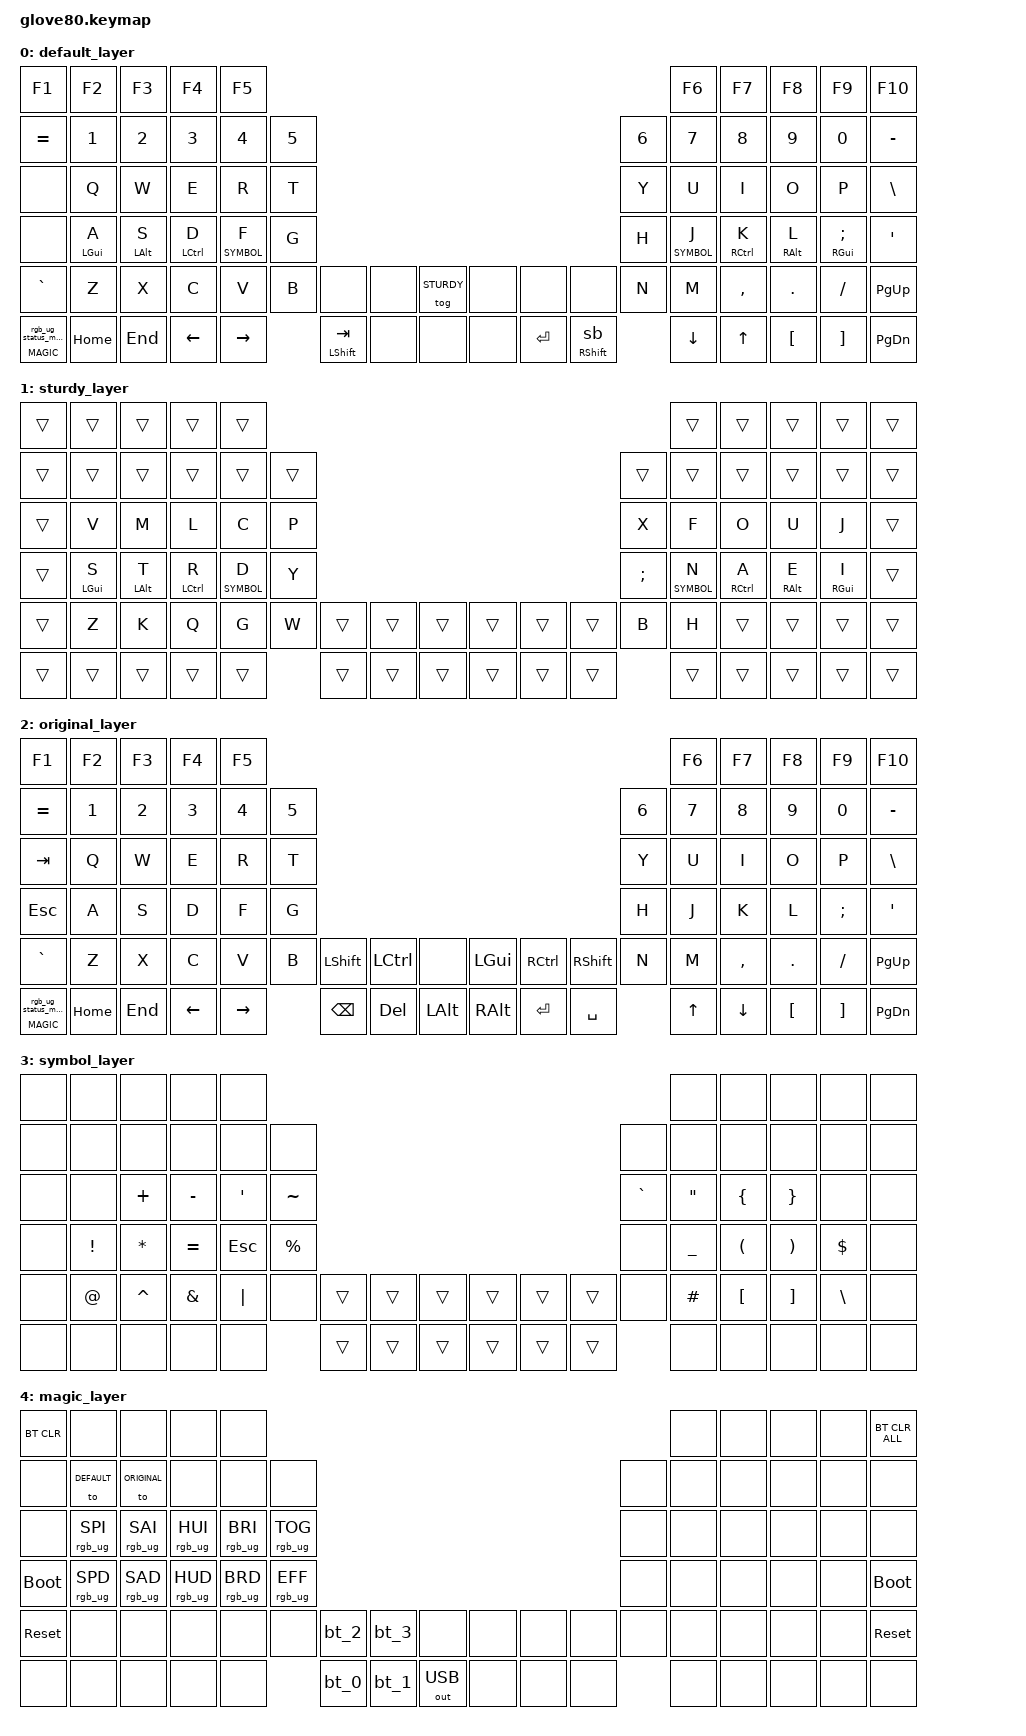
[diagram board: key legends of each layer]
/*
 * Copyright (c) 2020 The ZMK Contributors
 *
 * SPDX-License-Identifier: MIT
 */

#include <behaviors.dtsi>
#include <dt-bindings/zmk/keys.h>
#include <dt-bindings/zmk/bt.h>
#include <dt-bindings/zmk/ext_power.h>
#include <dt-bindings/zmk/outputs.h>
#include <dt-bindings/zmk/rgb.h>

#define HYPER LC(LS(LG(LALT)))

// layers
#define DEFAULT 0
#define STURDY 1
#define ORIGINAL 2
#define SYMBOL 3
#define MAGIC 4


// +------------------------+                                             +------------------------+
// | 00 | 01 | 02 | 03 | 04 +----+                                   +----+ 05 | 06 | 07 | 08 | 09 |
// | 10 | 11 | 12 | 13 | 14 | 15 |                                   | 16 | 17 | 18 | 19 | 20 | 21 |
// | 22 | 23 | 24 | 25 | 26 | 27 |                                   | 28 | 29 | 30 | 31 | 32 | 33 |
// | 34 | 35 | 36 | 37 | 38 | 39 +--------------+     +--------------+ 40 | 41 | 42 | 43 | 44 | 45 |
// | 46 | 47 | 48 | 49 | 50 | 51 | 52 | 53 | 54 |     | 55 | 56 | 57 | 58 | 59 | 60 | 61 | 62 | 63 |
// | 64 | 65 | 66 | 67 | 68 +----+ 69 | 70 | 71 |     | 72 | 73 | 74 +----+ 75 | 76 | 77 | 78 | 79 |
// +------------------------+    +--------------+     +--------------+    +------------------------+

#define LHS \
        0  1  2  3  4          \
    10 11 12 13 14 15          \
    22 23 24 25 26 27          \
    34 35 36 37 38 39          \
    46 47 48 49 50 51 52 53 54 \
    64 65 66 67 68    69 70 71

#define RHS \
                 5  6  7  8  9 \
             16 17 18 19 20 21 \
             28 29 30 31 32 33 \
             40 41 42 43 44 45 \
    55 56 57 58 59 60 61 62 63 \
    72 73 74    75 76 77 78 79

/ {
    behaviors {
        magic: magic_hold_tap {
            compatible = "zmk,behavior-hold-tap";
            label = "MAGIC_HOLD_TAP";
            #binding-cells = <2>;
            flavor = "tap-preferred";
            tapping-term-ms = <200>;
            bindings = <&mo>, <&rgb_ug_status_macro>;
        };

        sb: space_backspace {
            compatible = "zmk,behavior-mod-morph";
            #binding-cells = <0>;
            bindings = <&kp SPACE>, <&kp BSPC>;
            mods = <MOD_LSFT>;
        };
        stl: shift_tap_left {
            compatible = "zmk,behavior-hold-tap";
            #binding-cells = <2>;
            flavor = "hold-preferred";
            tapping-term-ms = <200>;
            quick-tap-ms = <175>;
            bindings = <&kp>, <&kp>;
            hold-trigger-key-positions = <RHS>;
        };
        str: shift_tap_right {
            compatible = "zmk,behavior-hold-tap";
            #binding-cells = <2>;
            flavor = "hold-preferred";
            tapping-term-ms = <200>;
            quick-tap-ms = <175>;
            bindings = <&kp>, <&sb>;
            hold-trigger-key-positions = <LHS>;
        };

        // https://v0-3-branch.zmk.dev/docs/keymaps/behaviors/hold-tap?examples=home_row_mods#custom-hold-tap-examples
        hml: home_row_mod_left {
            compatible = "zmk,behavior-hold-tap";
            #binding-cells = <2>;
            flavor = "balanced";
            require-prior-idle-ms = <150>;
            tapping-term-ms = <280>;
            quick-tap-ms = <175>;
            bindings = <&kp>, <&kp>;
            hold-trigger-key-positions = <RHS>;
            hold-trigger-on-release;
        };
        hmr: home_row_mod_right {
            compatible = "zmk,behavior-hold-tap";
            #binding-cells = <2>;
            flavor = "balanced";
            require-prior-idle-ms = <150>;
            tapping-term-ms = <280>;
            quick-tap-ms = <175>;
            bindings = <&kp>, <&kp>;
            hold-trigger-key-positions = <LHS>;
            hold-trigger-on-release;
        };

        hll: home_row_layer_left {
            compatible = "zmk,behavior-hold-tap";
            #binding-cells = <2>;
            flavor = "hold-preferred";
            tapping-term-ms = <280>;
            quick-tap-ms = <175>;
            bindings = <&mo>, <&kp>;
            hold-trigger-key-positions = <RHS>;
            hold-trigger-on-release;
        };
        hlr: home_row_layer_right {
            compatible = "zmk,behavior-hold-tap";
            #binding-cells = <2>;
            flavor = "hold-preferred";
            tapping-term-ms = <280>;
            quick-tap-ms = <175>;
            bindings = <&mo>, <&kp>;
            hold-trigger-key-positions = <LHS>;
            hold-trigger-on-release;
        };
    };

    macros {
        rgb_ug_status_macro: rgb_ug_status_macro_0 {
            label = "RGB_UG_STATUS";
            compatible = "zmk,behavior-macro";
            #binding-cells = <0>;
            bindings
                = <&rgb_ug RGB_STATUS>;
        };

        bt_0: bt_profile_macro_0 {
            label = "BT_0";
            compatible = "zmk,behavior-macro";
            #binding-cells = <0>;
            bindings
                = <&out OUT_BLE>,
                  <&bt BT_SEL 0>;
        };

        bt_1: bt_profile_macro_1 {
            label = "BT_1";
            compatible = "zmk,behavior-macro";
            #binding-cells = <0>;
            bindings
                = <&out OUT_BLE>,
                  <&bt BT_SEL 1>;
        };

        bt_2: bt_profile_macro_2 {
            label = "BT_2";
            compatible = "zmk,behavior-macro";
            #binding-cells = <0>;
            bindings
                = <&out OUT_BLE>,
                  <&bt BT_SEL 2>;
        };

        bt_3: bt_profile_macro_3 {
            label = "BT_3";
            compatible = "zmk,behavior-macro";
            #binding-cells = <0>;
            bindings
                = <&out OUT_BLE>,
                  <&bt BT_SEL 3>;
        };
    };

    keymap {
        compatible = "zmk,keymap";

        default_layer {
            bindings = <
            &kp F1         &kp F2      &kp F3      &kp F4       &kp F5                                                                                         &kp F6        &kp F7       &kp F8       &kp F9         &kp F10
            &kp EQUAL      &kp N1      &kp N2      &kp N3       &kp N4        &kp N5                                                                   &kp N6  &kp N7        &kp N8       &kp N9       &kp N0         &kp MINUS
            &none          &kp Q       &kp W       &kp E        &kp R         &kp T                                                                    &kp Y   &kp U         &kp I        &kp O        &kp P          &kp BSLH
            &none          &hml LGUI A &hml LALT S &hml LCTRL D &hll SYMBOL F &kp G                                                                    &kp H   &hlr SYMBOL J &hmr RCTRL K &hmr RALT L  &hmr RGUI SEMI &kp SQT
            &kp GRAVE      &kp Z       &kp X       &kp C        &kp V         &kp B  &none           &none   &tog STURDY &none  &none    &none         &kp N   &kp M         &kp COMMA    &kp DOT      &kp FSLH       &kp PG_UP
            &magic MAGIC 0 &kp HOME    &kp END     &kp LEFT     &kp RIGHT            &stl LSHIFT TAB &none   &none       &none  &kp RET  &str RSHIFT 0         &kp DOWN      &kp UP       &kp LBKT     &kp RBKT       &kp PG_DN
            >;
        };

        sturdy_layer {
            bindings = <
            &trans &trans      &trans      &trans        &trans                                                                      &trans        &trans       &trans      &trans      &trans
            &trans &trans      &trans      &trans        &trans        &trans                                               &trans   &trans        &trans       &trans      &trans      &trans
            &trans &kp V       &kp M       &kp L         &kp C         &kp P                                                &kp X    &kp F         &kp O        &kp U       &kp J       &trans
            &trans &hml LGUI S &hml LALT T &hml LCTRL R  &hll SYMBOL D &kp Y                                                &kp SEMI &hlr SYMBOL N &hmr RCTRL A &hmr RALT E &hmr RGUI I &trans
            &trans &kp Z       &kp K       &kp Q         &kp G         &kp W &trans &trans &trans      &trans &trans &trans &kp B    &kp H         &trans       &trans      &trans      &trans
            &trans &trans      &trans      &trans        &trans              &trans &trans &trans      &trans &trans &trans          &trans        &trans       &trans      &trans      &trans
            >;
        };

        original_layer {
            bindings = <
            &kp F1         &kp F2   &kp F3      &kp F4      &kp F5                                                                                        &kp F6  &kp F7      &kp F8      &kp F9      &kp F10
            &kp EQUAL      &kp N1   &kp N2      &kp N3      &kp N4      &kp N5                                                                    &kp N6  &kp N7  &kp N8      &kp N9      &kp N0      &kp MINUS
            &kp TAB        &kp Q    &kp W       &kp E       &kp R       &kp T                                                                     &kp Y   &kp U   &kp I       &kp O       &kp P       &kp BSLH
            &kp ESC        &kp A    &kp S       &kp D       &kp F       &kp G                                                                     &kp H   &kp J   &kp K       &kp L       &kp SEMI    &kp SQT
            &kp GRAVE      &kp Z    &kp X       &kp C       &kp V       &kp B   &kp LSHFT   &kp LCTRL   &none     &kp LGUI  &kp RCTRL &kp RSHFT   &kp N   &kp M   &kp COMMA   &kp DOT     &kp FSLH    &kp PG_UP
            &magic MAGIC 0 &kp HOME &kp END     &kp LEFT    &kp RIGHT           &kp BSPC    &kp DEL     &kp LALT  &kp RALT  &kp RET   &kp SPACE           &kp UP  &kp DOWN    &kp LBKT    &kp RBKT    &kp PG_DN
            >;
        };

        // https://getreuer.info/posts/keyboards/symbol-layer/index.html
        // http://xahlee.info/comp/computer_language_char_distribution.html
        symbol_layer {
            bindings = <
            &none &none    &none     &none     &none                                                                        &none     &none    &none    &none      &none
            &none &none    &none     &none     &none    &none                                                     &none     &none     &none    &none    &none      &none
            &none &none    &kp PLUS  &kp MINUS &kp SQT  &kp TILDE                                                 &kp GRAVE &kp DQT   &kp LBRC &kp RBRC &none      &none
            &none &kp EXCL &kp STAR  &kp EQUAL &kp ESC  &kp PRCNT                                                 &none     &kp UNDER &kp LPAR &kp RPAR &kp DOLLAR &none
            &none &kp AT   &kp CARET &kp AMPS  &kp PIPE &none     &trans &trans &trans      &trans &trans &trans  &none     &kp HASH  &kp LBKT &kp RBKT &kp BSLH   &none
            &none &none    &none     &none     &none              &trans &trans &trans      &trans &trans &trans            &none     &none    &none    &none      &none
            >;
        };

        magic_layer {
            bindings = <
            &bt BT_CLR        &none               &none           &none           &none                                                                                                           &none      &none      &none      &none      &bt BT_CLR_ALL
            &none             &to DEFAULT         &to ORIGINAL    &none           &none           &none                                                                                &none      &none      &none      &none      &none      &none
            &none             &rgb_ug RGB_SPI     &rgb_ug RGB_SAI &rgb_ug RGB_HUI &rgb_ug RGB_BRI &rgb_ug RGB_TOG                                                                      &none      &none      &none      &none      &none      &none
            &bootloader       &rgb_ug RGB_SPD     &rgb_ug RGB_SAD &rgb_ug RGB_HUD &rgb_ug RGB_BRD &rgb_ug RGB_EFF                                                                      &none      &none      &none      &none      &none      &bootloader
            &sys_reset        &none               &none           &none           &none           &none           &bt_2     &bt_3     &none            &none     &none     &none       &none      &none      &none      &none      &none      &sys_reset
            &none             &none               &none           &none           &none                           &bt_0     &bt_1     &out OUT_USB     &none     &none     &none                  &none      &none      &none      &none      &none
            >;
        };
    };
};
